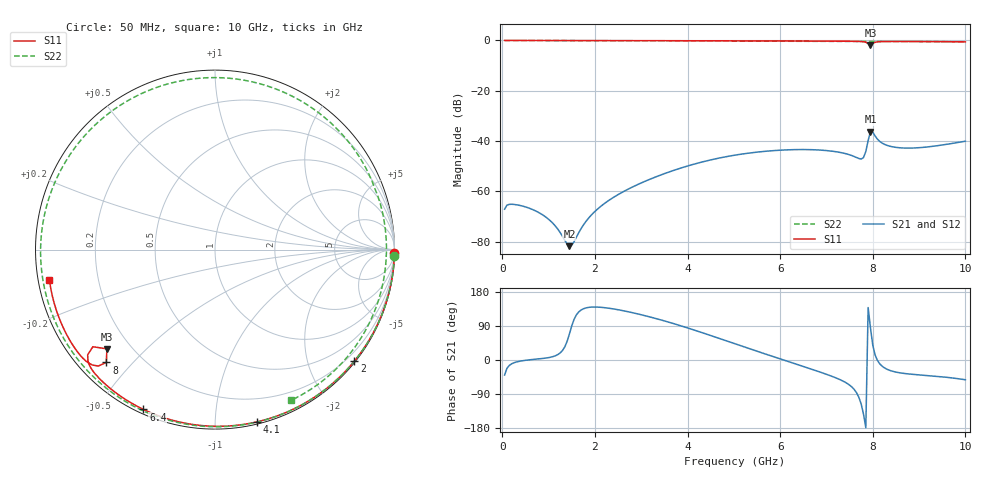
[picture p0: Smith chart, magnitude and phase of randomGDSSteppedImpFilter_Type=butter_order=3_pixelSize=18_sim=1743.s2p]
! freq	dB(S11)	phase(S11)	dB(S12)	phase(S12)
!  dB(S21)	phase(S21)	dB(S22)	phase(S22)
!S-par simulation data
#  GHz  S  DB  R 50
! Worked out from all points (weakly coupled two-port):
!   200 points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, 50 MHz to 10 GHz, reference 50 ohm
!   highest |S21| = -36.19 dB at 7.95 GHz (marker M1); lowest = -81.8 dB at 1.45 GHz (marker M2)
!   lowest |S11| = -1.7 dB at 7.95 GHz (marker M3), VSWR 9.97, Z = 5.76 - j19.2 ohm
!   |S11| at or under -10 dB: nowhere
!   |S22| runs from -0.5 to 0.0 dB; largest |S21 - S12| = 0
!   S11 on the Smith chart (normalised r, x): 50 MHz: open; 2 GHz: 0.03, -2.85; 4.1 GHz: 0.02, -1.27; 6.4 GHz: 0.02, -0.65; 8 GHz: 0.08, -0.42; 10 GHz: 0.03, -0.09
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0.05  -0.00 -1.0  -67.04 -39.7  -67.04 -39.7  -0.00 -2.1
0.25  -0.00 -4.9  -65.15 -7.4  -65.15 -7.4  -0.01 -10.3
0.75  -0.01 -14.7  -68.02 2.5  -68.02 2.5  -0.03 -30.7
1.45  -0.04 -28.2  -81.75 68.9  -81.75 68.9  -0.07 -58.8
1.55  -0.04 -30.1  -79.95 107.3  -79.95 107.3  -0.08 -62.7
1.75  -0.04 -33.9  -73.37 135.1  -73.37 135.1  -0.09 -70.6
2  -0.05 -38.6  -67.95 139.8  -67.95 139.8  -0.10 -80.4
2.7  -0.07 -51.6  -59.25 127.8  -59.25 127.8  -0.14 -107.6
3.4  -0.08 -64.2  -53.61 106.6  -53.61 106.6  -0.17 -134.7
4.1  -0.11 -76.4  -49.36 80.8  -49.36 80.8  -0.22 -162.4
5.05  -0.14 -92.4  -45.50 41.8  -45.50 41.8  -0.29 157.8
5.8  -0.18 -104.5  -43.86 11.0  -43.86 11.0  -0.34 123.7
6.4  -0.21 -114.1  -43.36 -13.1  -43.36 -13.1  -0.37 94.8
6.7  -0.23 -118.9  -43.42 -25.2  -43.42 -25.2  -0.38 80.0
7.2  -0.27 -126.9  -44.20 -47.0  -44.20 -47.0  -0.39 55.2
7.75  -0.43 -137.3  -47.12 -116.3  -47.12 -116.3  -0.40 28.6
7.85  -0.72 -140.4  -44.12 -178.7  -44.12 -178.7  -0.40 23.9
7.95  -1.75 -137.4  -36.19 85.3  -36.19 85.3  -0.41 19.4
8  -1.18 -133.9  -36.43 39.1  -36.43 39.1  -0.40 17.1
8.35  -0.40 -142.4  -41.93 -26.6  -41.93 -26.6  -0.40 1.2
9.05  -0.45 -154.1  -42.55 -39.7  -42.55 -39.7  -0.43 -28.1
10  -0.56 -169.5  -40.04 -52.1  -40.04 -52.1  -0.53 -63.1
